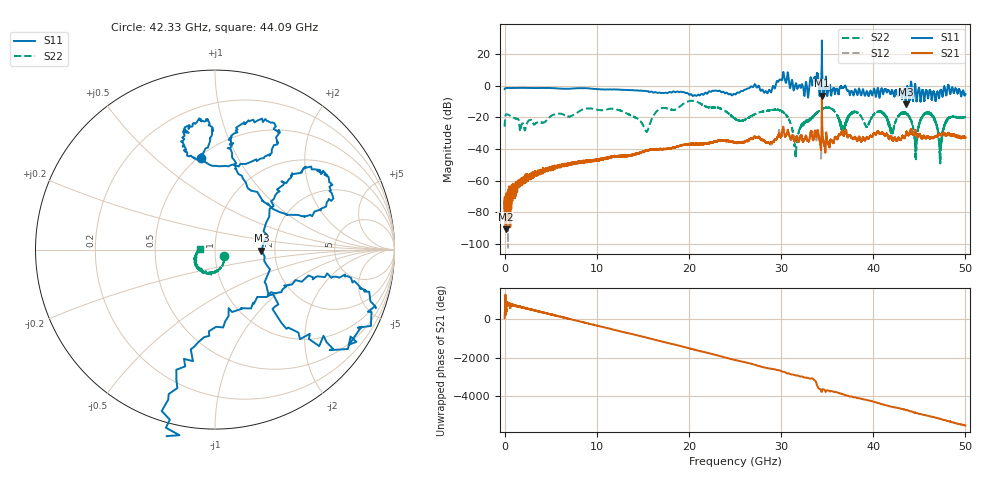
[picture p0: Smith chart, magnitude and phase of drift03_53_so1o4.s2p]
!Created with skrf (http://scikit-rf.org).
# Hz S RI R 50.0
!freq ReS11 ImS11 ReS21 ImS21 ReS12 ImS12 ReS22 ImS22
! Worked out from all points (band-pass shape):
!   10000 points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, 5.3 MHz to 50 GHz, reference 50 ohm
!   highest |S21| = -6.31 dB at 34.43 GHz (marker M1); lowest = -90.6 dB at 115.3 MHz (marker M2)
!   |S21| within 3 dB of the highest: 34.4276 GHz to 34.43484 GHz (7.245 MHz wide, 0.021 % of centre)
!   lowest |S11| = -11.7 dB at 43.52 GHz (marker M3), VSWR 1.70, Z = 84.9 - j1.2 ohm
!   |S11| at or under -10 dB: 43.48675 GHz to 43.54283 GHz (56.09 MHz wide, 0.129 % of centre); 45.1388 GHz to 45.14074 GHz (1.942 MHz wide, 0.0043 % of centre)
!   |S22| runs from -49.1 to -9.4 dB; largest |S21 - S12| = 0.14
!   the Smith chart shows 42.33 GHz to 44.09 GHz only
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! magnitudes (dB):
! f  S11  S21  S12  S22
! 5.3 MHz  -2.1  -73.3  -70.7  -25.9
! 115.3 MHz  -1.5  -90.6  -72.6  -18.5
! 2.535 GHz  -1.4  -60.0  -58.5  -22.6
! 8.34 GHz  -1.5  -48.4  -48.3  -15.3
! 15.39 GHz  -3.5  -40.6  -41.1  -28.9
! 16.67 GHz  -4.4  -40.0  -40.1  -15.3
! 20.46 GHz  -6.5  -37.0  -37.1  -9.5
! 25.01 GHz  -5.5  -35.8  -35.8  -20.7
! 29.95 GHz  3.9  -32.4  -32.3  -15.6
! 31.6 GHz  1.5  -33.6  -34.1  -43.4
! 33.34 GHz  2.6  -30.1  -30.4  -20.3
! 34.43 GHz  28.6  -6.3  -8.3  -14.5
! 36.69 GHz  -1.4  -29.7  -29.7  -27.3
! 37.96 GHz  -3.5  -32.6  -32.5  -16.5
! 41.67 GHz  -2.9  -33.2  -33.3  -23.1
! 43.52 GHz  -11.7  -31.3  -31.3  -17.7
! 44.61 GHz  -1.6  -29.0  -29.3  -42.4
! 45.32 GHz  -3.0  -33.5  -33.4  -19.8
! 46.3 GHz  -6.4  -33.0  -32.9  -18.1
! 47.29 GHz  -3.0  -31.1  -30.7  -46.9
! 48.14 GHz  0.6  -29.9  -29.9  -20.6
! 50 GHz  -5.2  -32.8  -32.6  -19.6
